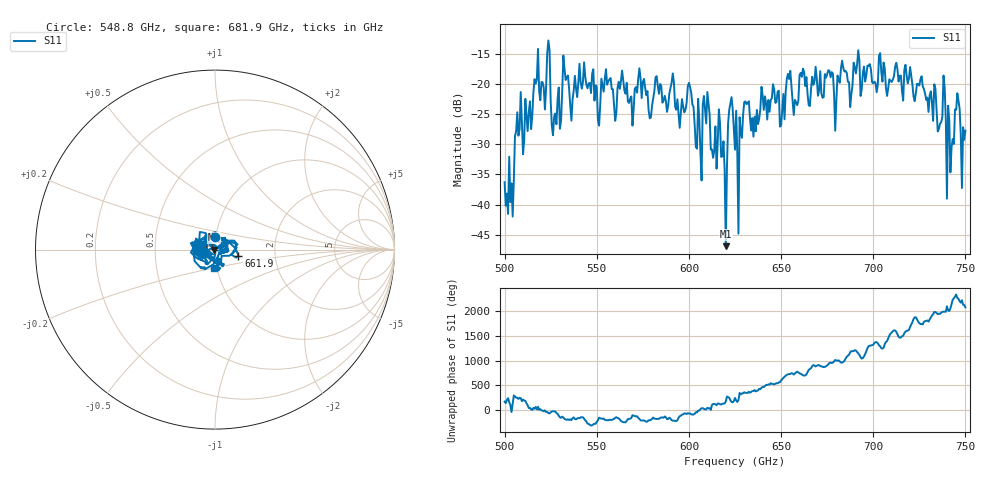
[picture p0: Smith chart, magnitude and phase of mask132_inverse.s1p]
!Created with skrf (http://scikit-rf.org).
# GHz S MA R 50.0
!freq magS11 angS11
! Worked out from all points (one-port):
!   401 points, 500 GHz to 750 GHz, reference 50 ohm
!   lowest |S11| = -46.9 dB at 620 GHz (marker M1), VSWR 1.01, Z = 49.6 + j0.0244 ohm
!   |S11| at or under -10 dB: start of sweep to end of sweep
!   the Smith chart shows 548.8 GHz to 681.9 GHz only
!   S11 on the Smith chart (normalised r, x): 548.8 GHz: 0.99, +0.15; 661.9 GHz: 1.30, -0.09; 681.9 GHz: 0.96, -0.20
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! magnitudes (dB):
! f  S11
! 500 GHz  -36.3
! 503.1 GHz  -39.6
! 507.5 GHz  -28.6
! 513.8 GHz  -22.9
! 516.9 GHz  -19.9
! 523.8 GHz  -12.7
! 526.9 GHz  -25.4
! 531.2 GHz  -21.3
! 548.8 GHz  -22.7
! 562.5 GHz  -20.8
! 593.8 GHz  -22.5
! 600.6 GHz  -20.5
! 605.6 GHz  -25.9
! 609.4 GHz  -26.5
! 620 GHz  -46.9
! 622.5 GHz  -23.2
! 625 GHz  -30.9
! 627.5 GHz  -25.5
! 631.2 GHz  -23.3
! 656.2 GHz  -22.8
! 661.9 GHz  -17.4
! 681.9 GHz  -19.8
! 687.5 GHz  -23.8
! 718.8 GHz  -19.9
! 738.1 GHz  -18.6
! 741.2 GHz  -26.0
! 745.6 GHz  -21.5
! 750 GHz  -27.7
